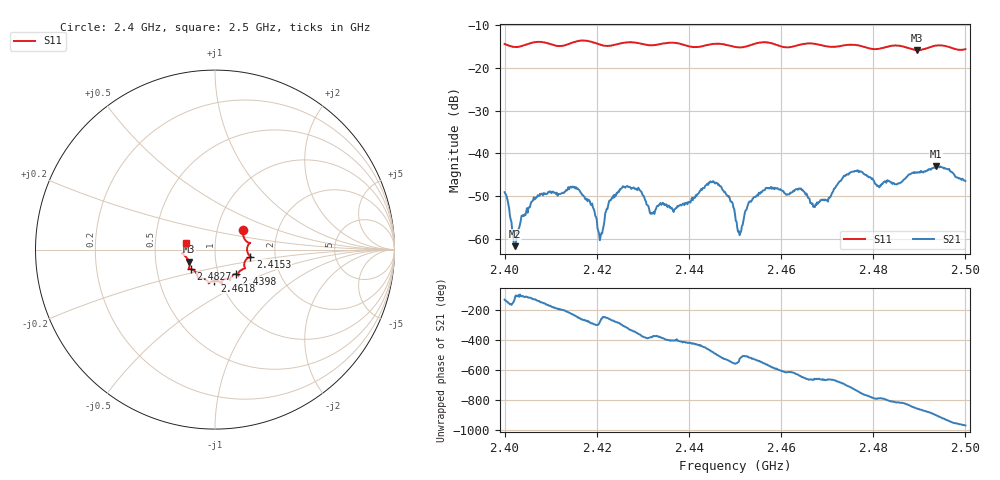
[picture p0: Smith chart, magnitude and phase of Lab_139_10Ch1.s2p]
# Hz S RI R 50
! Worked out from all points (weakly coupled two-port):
!   601 points, 2.4 GHz to 2.5 GHz, reference 50 ohm
!   highest |S21| = -42.98 dB at 2.4937 GHz (marker M1); lowest = -61.6 dB at 2.4023 GHz (marker M2)
!   lowest |S11| = -15.9 dB at 2.4895 GHz (marker M3), VSWR 1.38, Z = 37 - j5.04 ohm
!   |S11| at or under -10 dB: start of sweep to end of sweep
!   S12 and S22 are empty: the file has one direction only
!   S11 on the Smith chart (normalised r, x): 2.4 GHz: 1.33, +0.30; 2.4153 GHz: 1.48, -0.12; 2.4398 GHz: 1.21, -0.34; 2.4618 GHz: 0.94, -0.33; 2.4827 GHz: 0.75, -0.17; 2.5 GHz: 0.72, +0.06
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2.4e9  0.1555 0.1069  -0.0024 -0.0026  0 0  0 0
2.402333e9  0.1596 0.0689  -0.000275 -0.000785  0 0  0 0
2.406667e9  0.195 0.0375  -0.00192 -0.00225  0 0  0 0
2.415333e9  0.1969 -0.0394  -0.002 0.00337  0 0  0 0
2.416667e9  0.2027 -0.0435  -0.000368 0.0034  0 0  0 0
2.420667e9  0.1784 -0.0507  0.000166 0.000961  0 0  0 0
2.422833e9  0.1636 -0.0747  -0.000389 0.00282  0 0  0 0
2.4255e9  0.1658 -0.0998  0.002 0.00344  0 0  0 0
2.433333e9  0.1298 -0.1337  0.00234 -0.000693  0 0  0 0
2.439833e9  0.1154 -0.1358  0.00138 -0.00234  0 0  0 0
2.445667e9  0.0839 -0.1703  -0.00287 -0.00342  0 0  0 0
2.45e9  0.0654 -0.1619  -0.00186 0.000597  0 0  0 0
2.451e9  0.0542 -0.1631  -0.00108 -0.000305  0 0  0 0
2.455667e9  0.0378 -0.1932  -0.00355 0.000344  0 0  0 0
2.461833e9  -0.00313 -0.1731  -0.000982 0.0032  0 0  0 0
2.466667e9  -0.035 -0.188  0.00142 0.00216  0 0  0 0
2.475667e9  -0.0947 -0.1588  0.00617 -0.000311  0 0  0 0
2.482667e9  -0.1349 -0.1087  0.00132 -0.00456  0 0  0 0
2.483333e9  -0.14 -0.1081  0.000632 -0.00473  0 0  0 0
2.4895e9  -0.1457 -0.0663  -0.00416 -0.00427  0 0  0 0
2.493667e9  -0.1795 -0.0236  -0.0071 -7.46e-06  0 0  0 0
2.5e9  -0.1596 0.0385  -0.00187 0.00439  0 0  0 0
